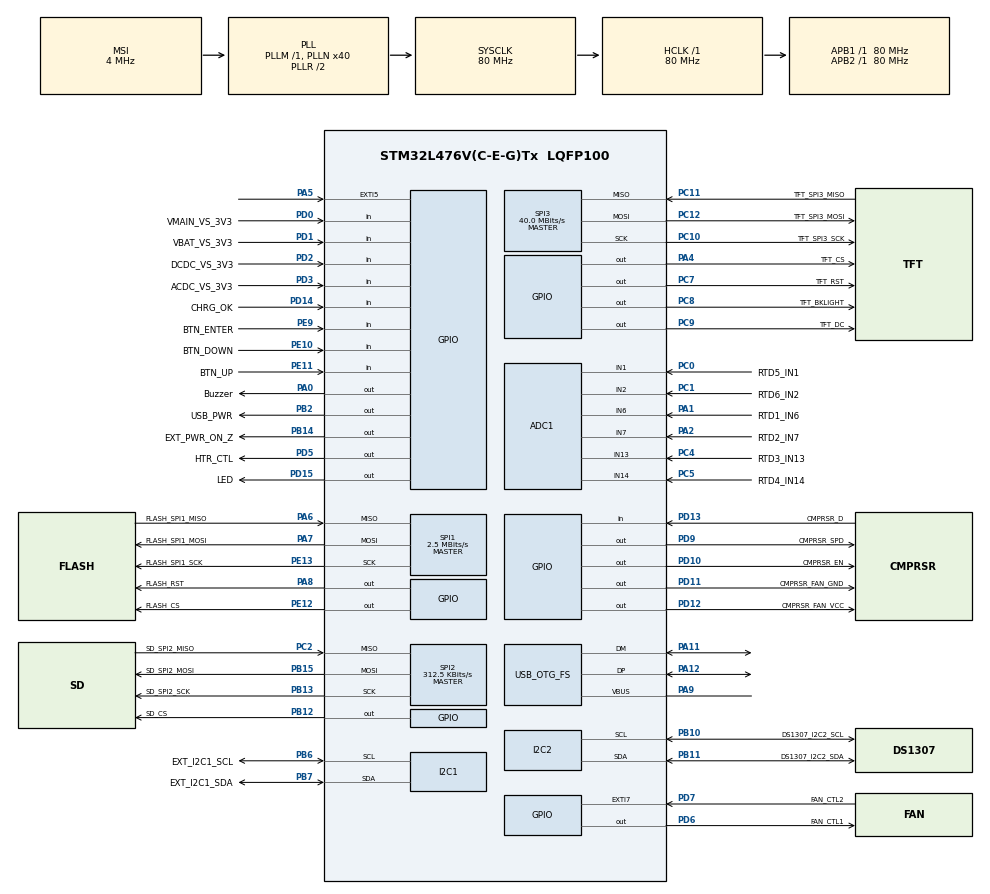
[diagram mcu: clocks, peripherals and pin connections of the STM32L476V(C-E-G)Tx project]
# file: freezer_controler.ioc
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ADC1.Channel-0\#ChannelRegularConversion=ADC_CHANNEL_1
ADC1.Channel-1\#ChannelRegularConversion=ADC_CHANNEL_2
ADC1.Channel-2\#ChannelRegularConversion=ADC_CHANNEL_6
ADC1.Channel-3\#ChannelRegularConversion=ADC_CHANNEL_7
ADC1.Channel-4\#ChannelRegularConversion=ADC_CHANNEL_13
ADC1.Channel-5\#ChannelRegularConversion=ADC_CHANNEL_14
ADC1.ClockPrescaler=ADC_CLOCK_ASYNC_DIV64
ADC1.ContinuousConvMode=ENABLE
ADC1.DMAContinuousRequests=ENABLE
ADC1.NbrOfConversion=6
ADC1.NbrOfConversionFlag=1
ADC1.OffsetNumber-0\#ChannelRegularConversion=ADC_OFFSET_NONE
ADC1.OffsetNumber-1\#ChannelRegularConversion=ADC_OFFSET_NONE
ADC1.OffsetNumber-2\#ChannelRegularConversion=ADC_OFFSET_NONE
ADC1.OffsetNumber-3\#ChannelRegularConversion=ADC_OFFSET_NONE
ADC1.OffsetNumber-4\#ChannelRegularConversion=ADC_OFFSET_NONE
ADC1.OffsetNumber-5\#ChannelRegularConversion=ADC_OFFSET_NONE
ADC1.Rank-0\#ChannelRegularConversion=1
ADC1.Rank-1\#ChannelRegularConversion=2
ADC1.Rank-2\#ChannelRegularConversion=3
ADC1.Rank-3\#ChannelRegularConversion=4
ADC1.Rank-4\#ChannelRegularConversion=5
ADC1.Rank-5\#ChannelRegularConversion=6
ADC1.SamplingTime-0\#ChannelRegularConversion=ADC_SAMPLETIME_640CYCLES_5
ADC1.SamplingTime-1\#ChannelRegularConversion=ADC_SAMPLETIME_640CYCLES_5
ADC1.SamplingTime-2\#ChannelRegularConversion=ADC_SAMPLETIME_640CYCLES_5
ADC1.SamplingTime-3\#ChannelRegularConversion=ADC_SAMPLETIME_640CYCLES_5
ADC1.SamplingTime-4\#ChannelRegularConversion=ADC_SAMPLETIME_640CYCLES_5
ADC1.SamplingTime-5\#ChannelRegularConversion=ADC_SAMPLETIME_640CYCLES_5
ADC1.master=1
CRC.DefaultPolynomialUse=DEFAULT_POLYNOMIAL_DISABLE
Dma.ADC1.1.Direction=DMA_PERIPH_TO_MEMORY
Dma.ADC1.1.Instance=DMA1_Channel1
Dma.ADC1.1.MemDataAlignment=DMA_MDATAALIGN_WORD
Dma.ADC1.1.MemInc=DMA_MINC_ENABLE
Dma.ADC1.1.Mode=DMA_CIRCULAR
Dma.ADC1.1.PeriphDataAlignment=DMA_PDATAALIGN_WORD
Dma.ADC1.1.PeriphInc=DMA_PINC_DISABLE
Dma.ADC1.1.Priority=DMA_PRIORITY_LOW
Dma.Request0=SPI3_TX
Dma.Request1=ADC1
Dma.SPI3_TX.0.Direction=DMA_MEMORY_TO_PERIPH
Dma.SPI3_TX.0.Instance=DMA2_Channel2
Dma.SPI3_TX.0.MemDataAlignment=DMA_MDATAALIGN_BYTE
Dma.SPI3_TX.0.MemInc=DMA_MINC_ENABLE
Dma.SPI3_TX.0.Mode=DMA_NORMAL
Dma.SPI3_TX.0.PeriphDataAlignment=DMA_PDATAALIGN_BYTE
Dma.SPI3_TX.0.PeriphInc=DMA_PINC_DISABLE
Dma.SPI3_TX.0.Priority=DMA_PRIORITY_LOW
FATFS._USE_LFN=3
FREERTOS.Tasks01=defaultTask,0,128,StartDefaultTask,Default,NULL,Dynamic,NULL,NULL
FREERTOS.configUSE_NEWLIB_REENTRANT=1
I2C1.Timing=0x10909CEC
I2C2.Timing=0x10909CEC
Mcu.Family=STM32L4
Mcu.Name=STM32L476V(C-E-G)Tx
Mcu.Package=LQFP100
NVIC.DMA1_Channel1_IRQn=true\:5\:0\:false\:false\:true\:true\:false\:true\:true
NVIC.DMA2_Channel2_IRQn=true\:5\:0\:false\:false\:true\:true\:false\:true\:true
NVIC.OTG_FS_IRQn=true\:5\:0\:false\:false\:true\:true\:false\:true\:true
NVIC.PriorityGroup=NVIC_PRIORITYGROUP_4
PA0.GPIO_Label=Buzzer
PA0.Signal=GPIO_Output
PA1.GPIO_Label=RTD1_IN6
PA1.Signal=ADCx_IN6
PA11.Mode=Host_Only
PA11.Signal=USB_OTG_FS_DM
PA12.Mode=Host_Only
PA12.Signal=USB_OTG_FS_DP
PA2.GPIO_Label=RTD2_IN7
PA2.Signal=ADCx_IN7
PA4.GPIO_Label=TFT_CS
PA4.PinState=GPIO_PIN_SET
PA4.Signal=GPIO_Output
PA5.Signal=GPXTI5
PA6.GPIO_Label=FLASH_SPI1_MISO
PA6.Mode=Full_Duplex_Master
PA6.Signal=SPI1_MISO
PA7.GPIO_Label=FLASH_SPI1_MOSI
PA7.Mode=Full_Duplex_Master
PA7.Signal=SPI1_MOSI
PA8.GPIO_Label=FLASH_RST
PA8.Signal=GPIO_Output
PA9.Mode=Activate_VBUS
PA9.Signal=USB_OTG_FS_VBUS
PB10.GPIO_Label=DS1307_I2C2_SCL
PB10.Mode=I2C
PB10.Signal=I2C2_SCL
PB11.GPIO_Label=DS1307_I2C2_SDA
PB11.Mode=I2C
PB11.Signal=I2C2_SDA
PB12.GPIO_Label=SD_CS
PB12.Signal=GPIO_Output
PB13.GPIO_Label=SD_SPI2_SCK
PB13.Mode=Full_Duplex_Master
PB13.Signal=SPI2_SCK
PB14.GPIO_Label=EXT_PWR_ON_Z
PB14.Signal=GPIO_Output
PB15.GPIO_Label=SD_SPI2_MOSI
PB15.Mode=Full_Duplex_Master
PB15.Signal=SPI2_MOSI
PB2.GPIO_Label=USB_PWR
PB2.Signal=GPIO_Output
PB6.GPIO_Label=EXT_I2C1_SCL
PB6.Mode=I2C
PB6.Signal=I2C1_SCL
PB7.GPIO_Label=EXT_I2C1_SDA
PB7.Mode=I2C
PB7.Signal=I2C1_SDA
PC0.GPIO_Label=RTD5_IN1
PC0.Signal=ADCx_IN1
PC1.GPIO_Label=RTD6_IN2
PC1.Signal=ADCx_IN2
PC10.GPIO_Label=TFT_SPI3_SCK
PC10.Mode=Full_Duplex_Master
PC10.Signal=SPI3_SCK
PC11.GPIO_Label=TFT_SPI3_MISO
PC11.Mode=Full_Duplex_Master
PC11.Signal=SPI3_MISO
PC12.GPIO_Label=TFT_SPI3_MOSI
PC12.Mode=Full_Duplex_Master
PC12.Signal=SPI3_MOSI
PC14-OSC32_IN\ (PC14).Mode=LSE-External-Oscillator
PC14-OSC32_IN\ (PC14).Signal=RCC_OSC32_IN
PC15-OSC32_OUT\ (PC15).Mode=LSE-External-Oscillator
PC15-OSC32_OUT\ (PC15).Signal=RCC_OSC32_OUT
PC2.GPIO_Label=SD_SPI2_MISO
PC2.Mode=Full_Duplex_Master
PC2.Signal=SPI2_MISO
PC4.GPIO_Label=RTD3_IN13
PC4.Signal=ADCx_IN13
PC5.GPIO_Label=RTD4_IN14
PC5.Signal=ADCx_IN14
PC7.GPIO_Label=TFT_RST
PC7.Signal=GPIO_Output
PC8.GPIO_Label=TFT_BKLIGHT
PC8.Signal=GPIO_Output
PC9.GPIO_Label=TFT_DC
PC9.Signal=GPIO_Output
PD0.GPIO_Label=VMAIN_VS_3V3
PD0.Signal=GPIO_Input
PD1.GPIO_Label=VBAT_VS_3V3
PD1.Signal=GPIO_Input
PD10.GPIO_Label=CMPRSR_EN
PD10.Signal=GPIO_Output
PD11.GPIO_Label=CMPRSR_FAN_GND
PD11.Signal=GPIO_Output
PD12.GPIO_Label=CMPRSR_FAN_VCC
PD12.Signal=GPIO_Output
PD13.GPIO_Label=CMPRSR_D
PD13.Signal=GPIO_Input
PD14.GPIO_Label=CHRG_OK
PD14.GPIO_PuPd=GPIO_PULLUP
PD14.Signal=GPIO_Input
PD15.GPIO_Label=LED
PD15.Signal=GPIO_Output
PD2.GPIO_Label=DCDC_VS_3V3
PD2.Signal=GPIO_Input
PD3.GPIO_Label=ACDC_VS_3V3
PD3.Signal=GPIO_Input
PD5.GPIO_Label=HTR_CTL
PD5.Signal=GPIO_Output
PD6.GPIO_Label=FAN_CTL1
PD6.Signal=GPIO_Output
PD7.GPIO_Label=FAN_CTL2
PD7.Signal=GPXTI7
PD9.GPIO_Label=CMPRSR_SPD
PD9.Signal=GPIO_Output
PE10.GPIO_Label=BTN_DOWN
PE10.GPIO_PuPd=GPIO_PULLUP
PE10.Signal=GPIO_Input
PE11.GPIO_Label=BTN_UP
PE11.GPIO_PuPd=GPIO_PULLUP
PE11.Signal=GPIO_Input
PE12.GPIO_Label=FLASH_CS
PE12.Signal=GPIO_Output
PE13.GPIO_Label=FLASH_SPI1_SCK
PE13.Mode=Full_Duplex_Master
PE13.Signal=SPI1_SCK
PE9.GPIO_Label=BTN_ENTER
PE9.GPIO_PuPd=GPIO_PULLUP
PE9.Signal=GPIO_Input
ProjectManager.HeapSize=0x200
ProjectManager.StackSize=0x400
ProjectManager.TargetToolchain=STM32CubeIDE
RCC.ADCFreq_Value=48000000
RCC.AHBFreq_Value=80000000
RCC.APB1Freq_Value=80000000
RCC.APB1TimFreq_Value=80000000
RCC.APB2Freq_Value=80000000
RCC.APB2TimFreq_Value=80000000
RCC.CortexFreq_Value=80000000
RCC.HCLKFreq_Value=80000000
RCC.HSE_VALUE=8000000
RCC.HSI_VALUE=16000000
RCC.MSI_VALUE=4000000
RCC.PLLN=40
RCC.PLLSAI1N=24
RCC.PLLSAI2N=16
RCC.SYSCLKFreq_VALUE=80000000
RCC.SYSCLKSource=RCC_SYSCLKSOURCE_PLLCLK
RCC.USBFreq_Value=48000000
RCC.VCOOutputFreq_Value=160000000
SH.ADCx_IN1.0=ADC1_IN1,IN1-Single-Ended
SH.ADCx_IN13.0=ADC1_IN13,IN13-Single-Ended
SH.ADCx_IN14.0=ADC1_IN14,IN14-Single-Ended
SH.ADCx_IN2.0=ADC1_IN2,IN2-Single-Ended
SH.ADCx_IN6.0=ADC1_IN6,IN6-Single-Ended
SH.ADCx_IN7.0=ADC1_IN7,IN7-Single-Ended
SPI1.BaudRatePrescaler=SPI_BAUDRATEPRESCALER_32
SPI1.CalculateBaudRate=2.5 MBits/s
SPI1.DataSize=SPI_DATASIZE_8BIT
SPI1.Direction=SPI_DIRECTION_2LINES
SPI1.Mode=SPI_MODE_MASTER
SPI1.VirtualType=VM_MASTER
SPI2.BaudRatePrescaler=SPI_BAUDRATEPRESCALER_256
SPI2.CalculateBaudRate=312.5 KBits/s
SPI2.DataSize=SPI_DATASIZE_8BIT
SPI2.Direction=SPI_DIRECTION_2LINES
SPI2.Mode=SPI_MODE_MASTER
SPI2.VirtualType=VM_MASTER
SPI3.BaudRatePrescaler=SPI_BAUDRATEPRESCALER_2
SPI3.CalculateBaudRate=40.0 MBits/s
SPI3.DataSize=SPI_DATASIZE_8BIT
SPI3.Direction=SPI_DIRECTION_2LINES
SPI3.Mode=SPI_MODE_MASTER
SPI3.VirtualType=VM_MASTER
USB_HOST.BSP.number=1
USB_HOST.USBH_HandleTypeDef=hUsbHostFS
USB_HOST.USBH_USE_OS-MSC_FS=0
USB_HOST.VirtualModeFS=Msc
USB_HOST0.BSP.STBoard=false
USB_HOST0.BSP.api=Unknown
USB_HOST0.BSP.instance=PB2
USB_HOST0.BSP.ip=GPIO
USB_HOST0.BSP.mode=Output
USB_HOST0.BSP.name=Drive_VBUS_FS
USB_HOST0.BSP.solution=PB2
USB_OTG_FS.VirtualMode=Host_Only
USB_OTG_FS.phy_itface=HCD_PHY_EMBEDDED
VP_CRC_VS_CRC.Mode=CRC_Activate
VP_FATFS_VS_Generic.Mode=User_defined
VP_FATFS_VS_USB.Mode=USB
VP_FREERTOS_VS_CMSIS_V1.Mode=CMSIS_V1
VP_USB_HOST_VS_USB_HOST_MSC_FS.Mode=MSC_FS
board=custom

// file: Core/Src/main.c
/* USER CODE BEGIN Header */
/**
  ******************************************************************************
  * @file           : main.c
  * @brief          : Main program body
  ******************************************************************************
  * @attention
  *
  * Copyright (c) 2023 STMicroelectronics.
  * All rights reserved.
  *
  * This software is licensed under terms that can be found in the LICENSE file
  * in the root directory of this software component.
  * If no LICENSE file comes with this software, it is provided AS-IS.
  *
  ******************************************************************************
  */
/* USER CODE END Header */
#include "main.h"
#include "cmsis_os.h"
#include "adc.h"
#include "crc.h"
#include "dma.h"
#include "fatfs.h"
#include "i2c.h"
#include "spi.h"
#include "usb_host.h"
#include "gpio.h"

/* USER CODE BEGIN Includes */
#include "lcd_ui.h"
#include "event.h"
#include "DS1307.h"
#include "led.h"
#include "buzzer.h"
#include "RTD.h"
#include "board.h"
#include "lcd_interface.h"
#include "main_app.h"
#include "logging.h"
#include "bms.h"
#include "power_board.h"
/* USER CODE END Includes */

void SystemClock_Config(void);
void PeriphCommonClock_Config(void);
void MX_FREERTOS_Init(void);

int main(void)
{

  /* MCU Configuration--------------------------------------------------------*/

  /* Reset of all peripherals, Initializes the Flash interface and the Systick. */
  HAL_Init();

  /* Configure the system clock */
  SystemClock_Config();

/* Configure the peripherals common clocks */
  PeriphCommonClock_Config();

  /* Initialize all configured peripherals */
  MX_GPIO_Init();
  MX_DMA_Init();
  MX_I2C2_Init();
  MX_SPI1_Init();
  MX_ADC1_Init();
  MX_SPI2_Init();
  MX_FATFS_Init();
  MX_SPI3_Init();
  MX_I2C1_Init();
  MX_CRC_Init();
  /* USER CODE BEGIN 2 */

  logging_init();
  event_init();
  //RTD temperature sensor
  rtd_init();
  //Buzzer
  buzzer_init();
  //Init i2c periph for DS1307
  DS1307_Init(&hi2c2);

  //Battery managerment
  ext_pwr_enable(); // On power for BQ25731
//  osDelay(10);
//  bms_init();
//
//  //Main app process
//  main_app_init();

  /* USER CODE END 2 */

  /* Call init function for freertos objects (in freertos.c) */
  MX_FREERTOS_Init();

  /* Start scheduler */
  osKernelStart();

  /* We should never get here as control is now taken by the scheduler */
  /* Infinite loop */
  /* USER CODE BEGIN WHILE */
  while (1)
  {
//	 event_run_task();
    /* USER CODE END WHILE */

  }
}

void SystemClock_Config(void)
{
  RCC_OscInitTypeDef RCC_OscInitStruct = {0};
  RCC_ClkInitTypeDef RCC_ClkInitStruct = {0};

  /** Configure the main internal regulator output voltage
  */
  if (HAL_PWREx_ControlVoltageScaling(PWR_REGULATOR_VOLTAGE_SCALE1) != HAL_OK)
  {
    Error_Handler();
  }

  /** Configure LSE Drive Capability
  */
  HAL_PWR_EnableBkUpAccess();
  __HAL_RCC_LSEDRIVE_CONFIG(RCC_LSEDRIVE_LOW);

  /** Initializes the RCC Oscillators according to the specified parameters
  * in the RCC_OscInitTypeDef structure.
  */
  RCC_OscInitStruct.OscillatorType = RCC_OSCILLATORTYPE_LSE|RCC_OSCILLATORTYPE_MSI;
  RCC_OscInitStruct.LSEState = RCC_LSE_ON;
  RCC_OscInitStruct.MSIState = RCC_MSI_ON;
  RCC_OscInitStruct.MSICalibrationValue = 0;
  RCC_OscInitStruct.MSIClockRange = RCC_MSIRANGE_6;
  RCC_OscInitStruct.PLL.PLLState = RCC_PLL_ON;
  RCC_OscInitStruct.PLL.PLLSource = RCC_PLLSOURCE_MSI;
  RCC_OscInitStruct.PLL.PLLM = 1;
  RCC_OscInitStruct.PLL.PLLN = 40;
  RCC_OscInitStruct.PLL.PLLP = RCC_PLLP_DIV7;
  RCC_OscInitStruct.PLL.PLLQ = RCC_PLLQ_DIV2;
  RCC_OscInitStruct.PLL.PLLR = RCC_PLLR_DIV2;
  if (HAL_RCC_OscConfig(&RCC_OscInitStruct) != HAL_OK)
  {
    Error_Handler();
  }

  /** Initializes the CPU, AHB and APB buses clocks
  */
  RCC_ClkInitStruct.ClockType = RCC_CLOCKTYPE_HCLK|RCC_CLOCKTYPE_SYSCLK
                              |RCC_CLOCKTYPE_PCLK1|RCC_CLOCKTYPE_PCLK2;
  RCC_ClkInitStruct.SYSCLKSource = RCC_SYSCLKSOURCE_PLLCLK;
  RCC_ClkInitStruct.AHBCLKDivider = RCC_SYSCLK_DIV1;
  RCC_ClkInitStruct.APB1CLKDivider = RCC_HCLK_DIV1;
  RCC_ClkInitStruct.APB2CLKDivider = RCC_HCLK_DIV1;

  if (HAL_RCC_ClockConfig(&RCC_ClkInitStruct, FLASH_LATENCY_4) != HAL_OK)
  {
    Error_Handler();
  }

  /** Enable MSI Auto calibration
  */
  HAL_RCCEx_EnableMSIPLLMode();
}

void PeriphCommonClock_Config(void)
{
  RCC_PeriphCLKInitTypeDef PeriphClkInit = {0};

  /** Initializes the peripherals clock
  */
  PeriphClkInit.PeriphClockSelection = RCC_PERIPHCLK_USB|RCC_PERIPHCLK_ADC;
  PeriphClkInit.AdcClockSelection = RCC_ADCCLKSOURCE_PLLSAI1;
  PeriphClkInit.UsbClockSelection = RCC_USBCLKSOURCE_PLLSAI1;
  PeriphClkInit.PLLSAI1.PLLSAI1Source = RCC_PLLSOURCE_MSI;
  PeriphClkInit.PLLSAI1.PLLSAI1M = 1;
  PeriphClkInit.PLLSAI1.PLLSAI1N = 24;
  PeriphClkInit.PLLSAI1.PLLSAI1P = RCC_PLLP_DIV7;
  PeriphClkInit.PLLSAI1.PLLSAI1Q = RCC_PLLQ_DIV2;
  PeriphClkInit.PLLSAI1.PLLSAI1R = RCC_PLLR_DIV2;
  PeriphClkInit.PLLSAI1.PLLSAI1ClockOut = RCC_PLLSAI1_48M2CLK|RCC_PLLSAI1_ADC1CLK;
  if (HAL_RCCEx_PeriphCLKConfig(&PeriphClkInit) != HAL_OK)
  {
    Error_Handler();
  }
}

void Error_Handler(void)
{
  __disable_irq();
  while (1)
  {
  }
}

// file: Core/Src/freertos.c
/* USER CODE BEGIN Header */
/**
  ******************************************************************************
  * File Name          : freertos.c
  * Description        : Code for freertos applications
  ******************************************************************************
  * @attention
  *
  * Copyright (c) 2023 STMicroelectronics.
  * All rights reserved.
  *
  * This software is licensed under terms that can be found in the LICENSE file
  * in the root directory of this software component.
  * If no LICENSE file comes with this software, it is provided AS-IS.
  *
  ******************************************************************************
  */
/* USER CODE END Header */

#include "FreeRTOS.h"
#include "task.h"
#include "main.h"
#include "cmsis_os.h"

/* USER CODE BEGIN Includes */
#include "event.h"
#include "led.h"
/* USER CODE END Includes */

/* USER CODE BEGIN Variables */
osThreadId eventTaskHandle;
osThreadId ledTaskHandle;
/* USER CODE END Variables */
osThreadId defaultTaskHandle;

/* USER CODE BEGIN FunctionPrototypes */
extern void MX_USB_HOST_Process(void);
void EventTask(void const * arg);
void LedTask(void const* arg);
/* USER CODE END FunctionPrototypes */

void StartDefaultTask(void const * argument);

extern void MX_USB_HOST_Init(void);
void MX_FREERTOS_Init(void); /* (MISRA C 2004 rule 8.1) */

/* GetIdleTaskMemory prototype (linked to static allocation support) */
void vApplicationGetIdleTaskMemory( StaticTask_t **ppxIdleTaskTCBBuffer, StackType_t **ppxIdleTaskStackBuffer, uint32_t *pulIdleTaskStackSize );

/* USER CODE BEGIN GET_IDLE_TASK_MEMORY */
static StaticTask_t xIdleTaskTCBBuffer;
static StackType_t xIdleStack[configMINIMAL_STACK_SIZE];

void vApplicationGetIdleTaskMemory( StaticTask_t **ppxIdleTaskTCBBuffer, StackType_t **ppxIdleTaskStackBuffer, uint32_t *pulIdleTaskStackSize )
{
  *ppxIdleTaskTCBBuffer = &xIdleTaskTCBBuffer;
  *ppxIdleTaskStackBuffer = &xIdleStack[0];
  *pulIdleTaskStackSize = configMINIMAL_STACK_SIZE;
  /* place for user code */
}
/* USER CODE END GET_IDLE_TASK_MEMORY */

void MX_FREERTOS_Init(void) {

  /* Create the thread(s) */
  /* definition and creation of defaultTask */
  osThreadDef(defaultTask, StartDefaultTask, osPriorityNormal, 0, 128);
  defaultTaskHandle = osThreadCreate(osThread(defaultTask), NULL);

  /* USER CODE BEGIN RTOS_THREADS */
  osThreadDef(eventTask, EventTask, osPriorityNormal, 0, 1024);
  eventTaskHandle = osThreadCreate(osThread(eventTask), NULL);

  osThreadDef(ledTask, LedTask, osPriorityNormal, 0, 128);
  ledTaskHandle = osThreadCreate(osThread(ledTask), NULL);
  /* USER CODE END RTOS_THREADS */

}

void StartDefaultTask(void const * argument)
{
  /* init code for USB_HOST */
  MX_USB_HOST_Init();
  /* USER CODE BEGIN StartDefaultTask */
  /* Infinite loop */
  for(;;)
  {
	  MX_USB_HOST_Process();
	  osDelay(1);
  }
  /* USER CODE END StartDefaultTask */
}

/* USER CODE BEGIN Application */
void EventTask(void const * arg)
{
  osDelay(10);
  bms_init();
  //Main app process
  main_app_init();
  for(;;)
  {
	event_run_task();
	osDelay(1);
  }
}

void LedTask(void const* arg)
{
	for(;;)
	{
		led_task_interrupt(1);
		osDelay(10);
	}
}
/* USER CODE END Application */
